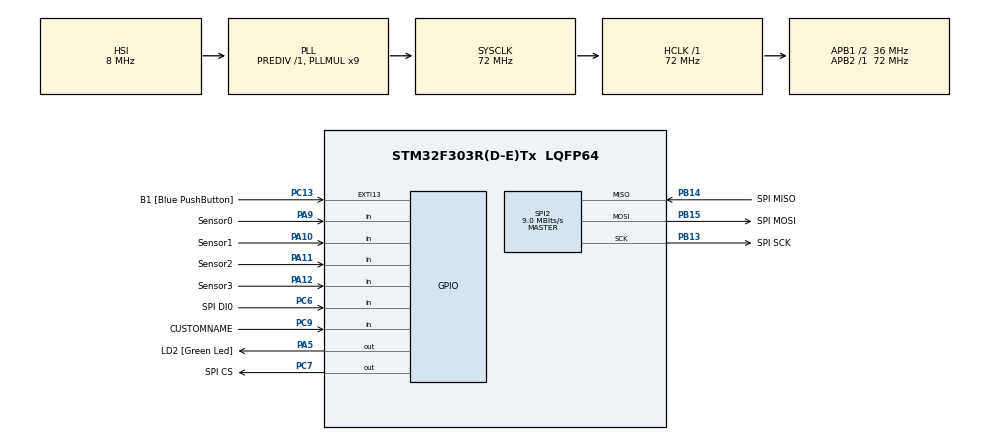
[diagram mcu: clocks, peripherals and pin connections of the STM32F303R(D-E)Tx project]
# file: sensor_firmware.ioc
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Mcu.Family=STM32F3
Mcu.Name=STM32F303R(D-E)Tx
Mcu.Package=LQFP64
NVIC.PriorityGroup=NVIC_PRIORITYGROUP_0
NVIC.TIM1_CC_IRQn=true\:0\:0\:false\:false\:true\:true\:true\:true
PA10.GPIO_Label=Sensor1
PA10.Signal=GPIO_Input
PA11.GPIO_Label=Sensor2
PA11.Signal=GPIO_Input
PA12.GPIO_Label=Sensor3
PA12.Signal=GPIO_Input
PA13.GPIO_Label=TMS
PA13.Signal=SYS_JTMS-SWDIO
PA14.GPIO_Label=TCK
PA14.Signal=SYS_JTCK-SWCLK
PA2.GPIO_Label=USART_TX
PA2.GPIO_Mode=GPIO_MODE_AF_PP
PA2.GPIO_PuPd=GPIO_NOPULL
PA2.GPIO_Speed=GPIO_SPEED_FREQ_LOW
PA2.Signal=USART2_TX
PA3.GPIO_Label=USART_RX
PA3.GPIO_Mode=GPIO_MODE_AF_PP
PA3.GPIO_PuPd=GPIO_NOPULL
PA3.GPIO_Speed=GPIO_SPEED_FREQ_LOW
PA3.Signal=USART2_RX
PA5.GPIO_Label=LD2 [Green Led]
PA5.GPIO_Mode=GPIO_MODE_OUTPUT_PP
PA5.GPIO_PuPd=GPIO_NOPULL
PA5.GPIO_Speed=GPIO_SPEED_FREQ_LOW
PA5.Signal=GPIO_Output
PA9.GPIO_Label=Sensor0
PA9.Signal=GPIO_Input
PB13.GPIO_Label=SPI SCK
PB13.GPIO_Speed=GPIO_SPEED_FREQ_LOW
PB13.Mode=Full_Duplex_Master
PB13.Signal=SPI2_SCK
PB14.GPIO_Label=SPI MISO
PB14.Mode=Full_Duplex_Master
PB14.Signal=SPI2_MISO
PB15.GPIO_Label=SPI MOSI
PB15.Mode=Full_Duplex_Master
PB15.Signal=SPI2_MOSI
PB3.GPIO_Label=SWO
PB3.Signal=SYS_JTDO-TRACESWO
PC13.GPIO_Label=B1 [Blue PushButton]
PC13.GPIO_ModeDefaultEXTI=GPIO_MODE_IT_RISING_FALLING
PC13.Signal=GPXTI13
PC14-OSC32_IN.Signal=RCC_OSC32_IN
PC15-OSC32_OUT.Signal=RCC_OSC32_OUT
PC6.GPIO_Label=SPI DI0
PC6.Signal=GPIO_Input
PC7.GPIO_Label=SPI CS
PC7.Signal=GPIO_Output
PC9.GPIO_Label=CUSTOMNAME
PC9.Signal=GPIO_Input
PF0-OSC_IN.Signal=RCC_OSC_IN
PF1-OSC_OUT.Signal=RCC_OSC_OUT
ProjectManager.HeapSize=0x200
ProjectManager.StackSize=0x400
ProjectManager.TargetToolchain=STM32CubeIDE
RCC.AHBFreq_Value=72000000
RCC.APB1CLKDivider=RCC_HCLK_DIV2
RCC.APB1Freq_Value=36000000
RCC.APB1TimFreq_Value=72000000
RCC.APB2Freq_Value=72000000
RCC.APB2TimFreq_Value=72000000
RCC.CortexFreq_Value=72000000
RCC.HCLKFreq_Value=72000000
RCC.HSE_VALUE=8000000
RCC.HSI_VALUE=8000000
RCC.LSE_VALUE=32768
RCC.PLLM=8
RCC.PLLMUL=RCC_PLL_MUL9
RCC.PLLN=336
RCC.PLLP=RCC_PLLP_DIV4
RCC.PLLQ=7
RCC.RCC_PLLsource_Clock_Source_FROM_HSE=RCC_HSE_PREDIV_DIV2
RCC.SYSCLKFreq_VALUE=72000000
RCC.SYSCLKSourceVirtual=RCC_SYSCLKSOURCE_PLLCLK
RCC.USBFreq_Value=72000000
SPI2.BaudRatePrescaler=SPI_BAUDRATEPRESCALER_4
SPI2.CalculateBaudRate=9.0 MBits/s
SPI2.DataSize=SPI_DATASIZE_8BIT
SPI2.Direction=SPI_DIRECTION_2LINES
SPI2.Mode=SPI_MODE_MASTER
SPI2.NSSPMode=SPI_NSS_PULSE_ENABLE
SPI2.VirtualType=VM_MASTER
TIM1.Period=36000
TIM1.Prescaler=1
VP_TIM1_VS_ClockSourceINT.Mode=Internal
board=NUCLEO-F303RE

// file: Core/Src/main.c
/* USER CODE BEGIN Header */
/**
  ******************************************************************************
  * @file           : main.c
  * @brief          : Main program body
  ******************************************************************************
  * @attention
  *
  * Copyright (c) 2023 STMicroelectronics.
  * All rights reserved.
  *
  * This software is licensed under terms that can be found in the LICENSE file
  * in the root directory of this software component.
  * If no LICENSE file comes with this software, it is provided AS-IS.
  *
  ******************************************************************************
  */
/* USER CODE END Header */
#include "main.h"
#include "rfm69w.h"
#include <string.h>

SPI_HandleTypeDef hspi2;

TIM_HandleTypeDef htim1;

void SystemClock_Config(void);
static void MX_GPIO_Init(void);
static void MX_SPI2_Init(void);
static void MX_TIM1_Init(void);

#define Send 0
#define Receive 1

int main(void)
{

  /* MCU Configuration--------------------------------------------------------*/

  /* Reset of all peripherals, Initializes the Flash interface and the Systick. */
  HAL_Init();

  /* Configure the system clock */
  SystemClock_Config();

  /* Initialize all configured peripherals */
  MX_GPIO_Init();
  MX_SPI2_Init();
  MX_TIM1_Init();
  /* USER CODE BEGIN 2 */
  	SWS_Packet packet;
    DataBuffer buffer;
    SmokeSensorData smokeData;
    packet.packetID = 0;
    packet.idBase = 1;
    packet.idSensor = 2;
    packet.packetID = packet.packetID + 1;
    packet.packetType = SEND;
//    smokeData.GasDetectionTimeout_Minutes = 10;
//    smokeData.GasSensor = 500;
//    smokeData.SmokeSensor = 1000;
//    smokeData.SensorType = 2;
//    smokeData.Temperature = 52;

#if Send
    memcpy(packet.data, &smokeData, 8);

    packet_serializeData(&packet, &buffer);
#endif

  /* USER CODE END 2 */

  /* Infinite loop */
  /* USER CODE BEGIN WHILE */
  bool RFM_active = false;
#if Send
  RFM_active = RFM69_initialize(RF69_868MHZ, 1, 0);

  while(!RFM_active){
	  RFM_active = RFM69_initialize(RF69_868MHZ, 1, 0);
	  HAL_Delay(1000);
  }
#endif
#if Receive
  RFM_active = RFM69_initialize(RF69_868MHZ, 2, 1);

  while(!RFM_active){
	  RFM_active = RFM69_initialize(RF69_868MHZ, 2, 1);
	  HAL_Delay(1000);
  }
#endif

#if Receive
  RFM69_setMode(RF69_MODE_RX);
#endif
  while (1)
  {
    /* USER CODE END WHILE */
	  if(RFM_active){
#if Send
		  RFM69_setMode(RF69_MODE_RX);
		  if(RFM69_canSend()){
			  RFM69_setMode(RF69_MODE_TX);
			  RFM69_send(RF69_BROADCAST_ADDR, buffer.data, buffer.size, false);
			  HAL_GPIO_WritePin(GPIOA, GPIO_PIN_5, 1);
		  }
		  RFM69_setMode(RF69_MODE_RX);
		  HAL_Delay(2500);
		  HAL_GPIO_WritePin(GPIOA, GPIO_PIN_5, GPIO_PIN_RESET);
		  HAL_Delay(2500);
#endif

#if Receive
		  if(RFM69_receive(buffer.data, buffer.size)){
			  packet_deserializeData(&packet, &buffer);
			  memcpy(&smokeData, packet.data, 8);
		  }
		  HAL_Delay(500);
#endif
	  }
  }
}

void SystemClock_Config(void)
{
  RCC_OscInitTypeDef RCC_OscInitStruct = {0};
  RCC_ClkInitTypeDef RCC_ClkInitStruct = {0};
  RCC_PeriphCLKInitTypeDef PeriphClkInit = {0};

  /** Initializes the RCC Oscillators according to the specified parameters
  * in the RCC_OscInitTypeDef structure.
  */
  RCC_OscInitStruct.OscillatorType = RCC_OSCILLATORTYPE_HSI;
  RCC_OscInitStruct.HSIState = RCC_HSI_ON;
  RCC_OscInitStruct.HSICalibrationValue = RCC_HSICALIBRATION_DEFAULT;
  RCC_OscInitStruct.PLL.PLLState = RCC_PLL_ON;
  RCC_OscInitStruct.PLL.PLLSource = RCC_PLLSOURCE_HSI;
  RCC_OscInitStruct.PLL.PLLMUL = RCC_PLL_MUL9;
  RCC_OscInitStruct.PLL.PREDIV = RCC_PREDIV_DIV1;
  if (HAL_RCC_OscConfig(&RCC_OscInitStruct) != HAL_OK)
  {
    Error_Handler();
  }

  /** Initializes the CPU, AHB and APB buses clocks
  */
  RCC_ClkInitStruct.ClockType = RCC_CLOCKTYPE_HCLK|RCC_CLOCKTYPE_SYSCLK
                              |RCC_CLOCKTYPE_PCLK1|RCC_CLOCKTYPE_PCLK2;
  RCC_ClkInitStruct.SYSCLKSource = RCC_SYSCLKSOURCE_PLLCLK;
  RCC_ClkInitStruct.AHBCLKDivider = RCC_SYSCLK_DIV1;
  RCC_ClkInitStruct.APB1CLKDivider = RCC_HCLK_DIV2;
  RCC_ClkInitStruct.APB2CLKDivider = RCC_HCLK_DIV1;

  if (HAL_RCC_ClockConfig(&RCC_ClkInitStruct, FLASH_LATENCY_2) != HAL_OK)
  {
    Error_Handler();
  }
  PeriphClkInit.PeriphClockSelection = RCC_PERIPHCLK_TIM1;
  PeriphClkInit.Tim1ClockSelection = RCC_TIM1CLK_HCLK;
  if (HAL_RCCEx_PeriphCLKConfig(&PeriphClkInit) != HAL_OK)
  {
    Error_Handler();
  }
}

static void MX_SPI2_Init(void)
{

  /* SPI2 parameter configuration*/
  hspi2.Instance = SPI2;
  hspi2.Init.Mode = SPI_MODE_MASTER;
  hspi2.Init.Direction = SPI_DIRECTION_2LINES;
  hspi2.Init.DataSize = SPI_DATASIZE_8BIT;
  hspi2.Init.CLKPolarity = SPI_POLARITY_LOW;
  hspi2.Init.CLKPhase = SPI_PHASE_1EDGE;
  hspi2.Init.NSS = SPI_NSS_SOFT;
  hspi2.Init.BaudRatePrescaler = SPI_BAUDRATEPRESCALER_4;
  hspi2.Init.FirstBit = SPI_FIRSTBIT_MSB;
  hspi2.Init.TIMode = SPI_TIMODE_DISABLE;
  hspi2.Init.CRCCalculation = SPI_CRCCALCULATION_DISABLE;
  hspi2.Init.CRCPolynomial = 7;
  hspi2.Init.CRCLength = SPI_CRC_LENGTH_DATASIZE;
  hspi2.Init.NSSPMode = SPI_NSS_PULSE_ENABLE;
  if (HAL_SPI_Init(&hspi2) != HAL_OK)
  {
    Error_Handler();
  }

}

static void MX_TIM1_Init(void)
{

  TIM_ClockConfigTypeDef sClockSourceConfig = {0};
  TIM_MasterConfigTypeDef sMasterConfig = {0};

  htim1.Instance = TIM1;
  htim1.Init.Prescaler = 1;
  htim1.Init.CounterMode = TIM_COUNTERMODE_UP;
  htim1.Init.Period = 36000;
  htim1.Init.ClockDivision = TIM_CLOCKDIVISION_DIV1;
  htim1.Init.RepetitionCounter = 0;
  htim1.Init.AutoReloadPreload = TIM_AUTORELOAD_PRELOAD_DISABLE;
  if (HAL_TIM_Base_Init(&htim1) != HAL_OK)
  {
    Error_Handler();
  }
  sClockSourceConfig.ClockSource = TIM_CLOCKSOURCE_INTERNAL;
  if (HAL_TIM_ConfigClockSource(&htim1, &sClockSourceConfig) != HAL_OK)
  {
    Error_Handler();
  }
  sMasterConfig.MasterOutputTrigger = TIM_TRGO_RESET;
  sMasterConfig.MasterOutputTrigger2 = TIM_TRGO2_RESET;
  sMasterConfig.MasterSlaveMode = TIM_MASTERSLAVEMODE_DISABLE;
  if (HAL_TIMEx_MasterConfigSynchronization(&htim1, &sMasterConfig) != HAL_OK)
  {
    Error_Handler();
  }

}

static void MX_GPIO_Init(void)
{
  GPIO_InitTypeDef GPIO_InitStruct = {0};

  /* GPIO Ports Clock Enable */
  __HAL_RCC_GPIOC_CLK_ENABLE();
  __HAL_RCC_GPIOF_CLK_ENABLE();
  __HAL_RCC_GPIOA_CLK_ENABLE();
  __HAL_RCC_GPIOB_CLK_ENABLE();

  /*Configure GPIO pin Output Level */
  HAL_GPIO_WritePin(LD2_GPIO_Port, LD2_Pin, GPIO_PIN_RESET);

  /*Configure GPIO pin Output Level */
  HAL_GPIO_WritePin(SPI_CS_GPIO_Port, SPI_CS_Pin, GPIO_PIN_RESET);

  /*Configure GPIO pin : B1_Pin */
  GPIO_InitStruct.Pin = B1_Pin;
  GPIO_InitStruct.Mode = GPIO_MODE_IT_RISING_FALLING;
  GPIO_InitStruct.Pull = GPIO_NOPULL;
  HAL_GPIO_Init(B1_GPIO_Port, &GPIO_InitStruct);

  /*Configure GPIO pins : USART_TX_Pin USART_RX_Pin */
  GPIO_InitStruct.Pin = USART_TX_Pin|USART_RX_Pin;
  GPIO_InitStruct.Mode = GPIO_MODE_AF_PP;
  GPIO_InitStruct.Pull = GPIO_NOPULL;
  GPIO_InitStruct.Speed = GPIO_SPEED_FREQ_LOW;
  GPIO_InitStruct.Alternate = GPIO_AF7_USART2;
  HAL_GPIO_Init(GPIOA, &GPIO_InitStruct);

  /*Configure GPIO pin : LD2_Pin */
  GPIO_InitStruct.Pin = LD2_Pin;
  GPIO_InitStruct.Mode = GPIO_MODE_OUTPUT_PP;
  GPIO_InitStruct.Pull = GPIO_NOPULL;
  GPIO_InitStruct.Speed = GPIO_SPEED_FREQ_LOW;
  HAL_GPIO_Init(LD2_GPIO_Port, &GPIO_InitStruct);

  /*Configure GPIO pins : SPI_DI0_Pin CUSTOMNAME_Pin */
  GPIO_InitStruct.Pin = SPI_DI0_Pin|CUSTOMNAME_Pin;
  GPIO_InitStruct.Mode = GPIO_MODE_INPUT;
  GPIO_InitStruct.Pull = GPIO_NOPULL;
  HAL_GPIO_Init(GPIOC, &GPIO_InitStruct);

  /*Configure GPIO pin : SPI_CS_Pin */
  GPIO_InitStruct.Pin = SPI_CS_Pin;
  GPIO_InitStruct.Mode = GPIO_MODE_OUTPUT_PP;
  GPIO_InitStruct.Pull = GPIO_NOPULL;
  GPIO_InitStruct.Speed = GPIO_SPEED_FREQ_LOW;
  HAL_GPIO_Init(SPI_CS_GPIO_Port, &GPIO_InitStruct);

  /*Configure GPIO pins : Sensor0_Pin Sensor1_Pin Sensor2_Pin Sensor3_Pin */
  GPIO_InitStruct.Pin = Sensor0_Pin|Sensor1_Pin|Sensor2_Pin|Sensor3_Pin;
  GPIO_InitStruct.Mode = GPIO_MODE_INPUT;
  GPIO_InitStruct.Pull = GPIO_NOPULL;
  HAL_GPIO_Init(GPIOA, &GPIO_InitStruct);

}

void Error_Handler(void)
{
  __disable_irq();
  while (1)
  {
  }
}
